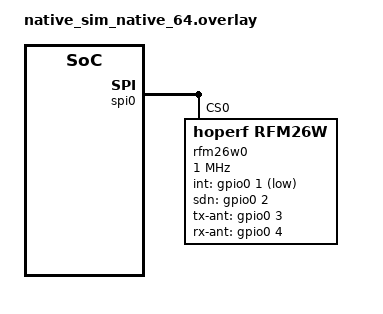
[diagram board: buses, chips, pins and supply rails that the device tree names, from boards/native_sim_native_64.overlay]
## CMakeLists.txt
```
cmake_minimum_required(VERSION 3.20.0)

# Host tests for the COMMS firmware: runs on this computer (native_sim), not on the board.
set(BOARD native_sim/native/64)

set(COMMS_DIR ${CMAKE_CURRENT_SOURCE_DIR}/../../COMMS)

# The radio driver, and the software model of the radio that stands in for the chip
list(APPEND EXTRA_ZEPHYR_MODULES ${COMMS_DIR}/drivers/rfm26w)

find_package(Zephyr REQUIRED HINTS $ENV{ZEPHYR_BASE})
project(comms_test)

# COMMS_MODULE_SOURCES: the same module list the firmware builds (apps/COMMS/src/modules.cmake)
include(${COMMS_DIR}/src/modules.cmake)

set(RFM26W_EMUL_DIR ${COMMS_DIR}/drivers/rfm26w/emul)

# Every .c file in src/ is a test file (one suite per file). CONFIGURE_DEPENDS: new files are picked up on rebuild.
file(GLOB COMMS_TEST_SOURCES CONFIGURE_DEPENDS ${CMAKE_CURRENT_SOURCE_DIR}/src/*.c)

target_sources(app PRIVATE
    ${COMMS_TEST_SOURCES}
    ${COMMS_MODULE_SOURCES}
    ${RFM26W_EMUL_DIR}/rfm26w_emul.c)
target_include_directories(app PRIVATE ${COMMS_SRC_DIR} ${RFM26W_EMUL_DIR} $ENV{ROOT})
```

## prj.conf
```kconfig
CONFIG_ZTEST=y
CONFIG_ASSERT=y

CONFIG_GPIO=y
CONFIG_GPIO_EMUL=y
CONFIG_SPI=y
CONFIG_SPI_EMUL=y
CONFIG_EMUL=y
CONFIG_CRC=y
CONFIG_CAN=y

CONFIG_LOG=y

CONFIG_MAIN_STACK_SIZE=4096
CONFIG_ZTEST_STACK_SIZE=4096

# native_sim defaults to 10 ms ticks, which would turn 1 ms sleeps into 10 ms ones
CONFIG_SYS_CLOCK_TICKS_PER_SEC=10000
```

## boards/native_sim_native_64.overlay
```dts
/*
 * The RFM26W node on native_sim's emulated SPI controller and emulated GPIO port. Both the driver and the
 * software model of the radio bind to this node. The pins are arbitrary: nothing is wired.
 * Same node as apps/tests/rfm26wEmulTest.
 */
&spi0 {
	rfm26w0: rfm26w@0 {
		compatible = "hoperf,rfm26w";
		reg = <0>;
		spi-max-frequency = <1000000>;
		int-gpios = <&gpio0 1 (GPIO_ACTIVE_LOW | GPIO_PULL_UP)>;
		sdn-gpios = <&gpio0 2 GPIO_ACTIVE_HIGH>;
		tx-ant-gpios = <&gpio0 3 GPIO_ACTIVE_HIGH>;
		rx-ant-gpios = <&gpio0 4 GPIO_ACTIVE_HIGH>;
		block-length = <223>;
		xo-frequency-hz = <30000000>;
	};
};
```

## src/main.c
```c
/**
 * @file main.c
 * @brief Host tests for the COMMS firmware (native_sim)
 *
 * One suite per layer, in its own file, registered by the stage that adds the layer. This file holds only
 * the environment check. See apps/COMMS/PLANNED.md section 2 for the stage list.
 */
#include <zephyr/device.h>
#include <zephyr/ztest.h>

#include <ut/drivers/rfm26w.h>

#include "comms_config.h"
#include "rfm26w_emul.h"

#define RADIO_NODE DT_NODELABEL(rfm26w0)

/* The same check main.c in the firmware makes: protocol constant and radio node agree. */
BUILD_ASSERT(DT_PROP(RADIO_NODE, block_length) == COMMS_BLOCK_LEN, "block length mismatch");

static const struct device *const radio = DEVICE_DT_GET(RADIO_NODE);

ZTEST_SUITE(environment, NULL, NULL, NULL, NULL, NULL);

ZTEST(environment, test_protocol_constants_are_consistent)
{
	zassert_equal(COMMS_BLOCK_LEN, 223);
	zassert_equal(COMMS_UL_MAX_PACKET_CLEAR, 216, "PROTOCOL.md: 223 - 5 - 2");
	zassert_equal(COMMS_DL_MAX_PACKET, 219, "PROTOCOL.md: 223 - 2 - 2");
	zassert_equal(COMMS_SP_MIN_PACKET, 7);
	zassert_true(COMMS_TC_SCID <= 0x3FF, "spacecraft ID is 10 bits");
	zassert_true(COMMS_TC_VCID <= 0x3F, "virtual channel ID is 6 bits");
}

/* The radio driver and the software model of the radio are linked and work together. This is what the
 * later integration tests build on. */
ZTEST(environment, test_radio_driver_and_model_are_present)
{
	struct rfm26w_info info;

	zassert_true(device_is_ready(radio));
	(void)rfm26w_shutdown(radio);
	zassert_ok(rfm26w_start(radio));
	zassert_ok(rfm26w_get_info(radio, &info));
	zassert_equal(info.block_len, COMMS_BLOCK_LEN);
	zassert_ok(rfm26w_shutdown(radio));
	zassert_equal(RFM26W_EMUL_DATA()->bad_cmds, 0);
}
```

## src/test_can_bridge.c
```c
/** @file test_can_bridge.c @brief Tests for can/can_bridge with a fake CAN bus */
#include <errno.h>
#include <zephyr/ztest.h>

#include "can/can_bridge.h"
#include "can/can_ping.h"
#include "common/can_proto.h"
#include "link/space_packet.h"
#include "test_fake_can.h"
#include "test_util.h"

static struct can_bridge br;

static void before(void *f)
{
	ARG_UNUSED(f);
	fake_can_attach(&br);
}

ZTEST_SUITE(can_bridge, NULL, NULL, before, NULL, NULL);

static const uint8_t token[COMMS_PING_TOKEN_LEN] = {1, 2, 3, 4, 5, 6};

static struct can_frame frame_from(uint32_t id, uint8_t src, uint8_t op, const uint8_t *tok)
{
	struct can_frame f = {.id = id};

	can_fill_payload(&f, src, op, tok[0], tok[1], tok[2], tok[3], tok[4], tok[5]);
	return f;
}

/* ---- ground to bus ---- */

ZTEST(can_bridge, test_forward_sends_one_extended_8_byte_frame_with_the_record_contents)
{
	struct can_record r;

	comms_can_ping_record(&r, CDH_ID, token);
	zassert_ok(can_bridge_forward(&br, &r));
	zassert_equal(fcan.count, 1);
	zassert_equal(fcan.frames[0].dlc, 8);
	zassert_true(fcan.frames[0].flags & CAN_FRAME_IDE);
	zassert_equal(fcan.frames[0].data[0], GROUND_ID);
	zassert_equal(fcan.frames[0].data[1], OP_PING);
	zassert_mem_equal(&fcan.frames[0].data[2], token, sizeof(token));
	zassert_equal(br.stats.forwarded, 1);
}

ZTEST(can_bridge, test_forward_replaces_the_priority_whatever_ground_wrote)
{
	for (int p = 0; p < 8; p++) {
		struct can_record r;
		uint32_t id;

		comms_can_ping_record(&r, CDH_ID, token);
		r.id = (r.id & ~CAN_PRIO(7)) | CAN_PRIO(p);
		zassert_ok(can_bridge_forward(&br, &r));
		id = fcan.frames[p].id;
		zassert_equal((id >> 26) & 7, COMMS_CAN_UPLINK_PRIO, "ground wrote priority %d", p);
		zassert_equal((id >> 14) & 0xFF, GROUND_ID, "source untouched");
		zassert_equal((id >> 6) & 0xFF, CDH_ID, "destination untouched");
		zassert_equal(id & 0x3F, CLS_COMMAND, "class untouched");
	}
}

ZTEST(can_bridge, test_forward_does_not_change_the_callers_record)
{
	struct can_record r, copy;

	comms_can_ping_record(&r, CDH_ID, token);
	r.id |= CAN_PRIO(0);
	copy = r;
	zassert_ok(can_bridge_forward(&br, &r));
	zassert_equal(r.id, copy.id);
}

ZTEST(can_bridge, test_forward_send_error_is_returned_and_counted)
{
	struct can_record r;

	comms_can_ping_record(&r, CDH_ID, token);
	fcan.result = -EAGAIN;
	zassert_equal(can_bridge_forward(&br, &r), -EAGAIN);
	zassert_equal(br.stats.send_errors, 1);
	zassert_equal(br.stats.forwarded, 0);
}

ZTEST(can_bridge, test_forward_rejects_an_invalid_id_without_sending)
{
	struct can_record r;

	comms_can_ping_record(&r, CDH_ID, token);
	r.id |= BIT(22); /* reserved */
	zassert_equal(can_bridge_forward(&br, &r), -EINVAL);
	zassert_equal(fcan.attempts, 0);
	zassert_equal(br.stats.bad_record, 1);
}

/* ---- bus to ground ---- */

ZTEST(can_bridge, test_a_frame_for_ground_becomes_a_telemetry_item_with_counter_and_record)
{
	struct can_frame f = frame_from(CAN_ID_FULL(3, CDH_ID, GROUND_ID, CLS_CMD_RESP), CDH_ID, OP_PONG,
					token);
	struct dl_item it = {0};
	struct can_record rec;

	zassert_equal(can_bridge_on_frame(&br, &f, &it), 1);
	zassert_equal(it.apid, APID_DL_TLM);
	zassert_equal(it.len, 4 + CAN_RECORD_LEN);
	zassert_equal(it.data[0], 0);
	zassert_equal(it.data[3], 0, "first counter value is 0");
	zassert_equal(can_record_unpack(&it.data[4], CAN_RECORD_LEN, &rec), REC_OK);
	zassert_true(comms_can_pong_check(&rec, CDH_ID, token));
	zassert_equal(br.stats.replies, 1);
}

ZTEST(can_bridge, test_the_counter_is_big_endian_and_increments_per_reply)
{
	struct can_frame f = frame_from(CAN_ID_FULL(3, CDH_ID, GROUND_ID, CLS_CMD_RESP), CDH_ID, OP_PONG,
					token);
	struct dl_item it;

	atomic_set(&fcan_counter, 0x01020304);
	zassert_equal(can_bridge_on_frame(&br, &f, &it), 1);
	zassert_equal(it.data[0], 0x01);
	zassert_equal(it.data[1], 0x02);
	zassert_equal(it.data[2], 0x03);
	zassert_equal(it.data[3], 0x04);
	zassert_equal(can_bridge_on_frame(&br, &f, &it), 1);
	zassert_equal(it.data[3], 0x05);
	zassert_equal(atomic_get(&fcan_counter), 0x01020306);
}

ZTEST(can_bridge, test_frames_for_other_nodes_are_ignored_and_use_no_counter_value)
{
	const uint8_t dsts[] = {CDH_ID, EPS_ID, COMMS_ID, CAN_BROADCAST};
	struct dl_item it;

	for (size_t i = 0; i < ARRAY_SIZE(dsts); i++) {
		struct can_frame f = frame_from(CAN_ID_FULL(3, EPS_ID, dsts[i], CLS_HEARTBEAT), EPS_ID,
						OP_HEARTBEAT, token);

		zassert_equal(can_bridge_on_frame(&br, &f, &it), 0, "dst 0x%02x", dsts[i]);
	}
	zassert_equal(br.stats.ignored_dst, ARRAY_SIZE(dsts));
	zassert_equal(atomic_get(&fcan_counter), 0);
}

ZTEST(can_bridge, test_frames_that_are_not_classic_extended_8_byte_data_are_ignored)
{
	struct can_frame f = frame_from(CAN_ID_FULL(3, CDH_ID, GROUND_ID, CLS_CMD_RESP), CDH_ID, OP_PONG,
					token);
	struct dl_item it;

	f.flags = 0; /* standard ID */
	zassert_equal(can_bridge_on_frame(&br, &f, &it), 0);
	f.flags = CAN_FRAME_IDE;
	f.dlc = 4;
	zassert_equal(can_bridge_on_frame(&br, &f, &it), 0);
	f.dlc = 8;
	f.flags = CAN_FRAME_IDE | CAN_FRAME_RTR;
	zassert_equal(can_bridge_on_frame(&br, &f, &it), 0);
	zassert_equal(br.stats.ignored_frame, 3);
	zassert_equal(br.stats.replies, 0);
}
```

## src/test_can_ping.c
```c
/** @file test_can_ping.c @brief Tests for can/can_ping (the CAN ping and pong records) */
#include <zephyr/ztest.h>

#include "can/can_ping.h"
#include "can/uplink_policy.h"
#include "common/can_proto.h"
#include "test_util.h"

ZTEST_SUITE(can_ping, NULL, NULL, NULL, NULL, NULL);

static const uint8_t token[COMMS_PING_TOKEN_LEN] = {0xDE, 0xAD, 0xBE, 0xEF, 0x00, 0xFF};

/* What a board answers: the same as the CDH handler, written out here independently. */
static struct can_record pong(uint8_t from, const uint8_t *tok)
{
	struct can_record r = {.id = CAN_ID_FULL(3, from, GROUND_ID, CLS_CMD_RESP)};

	r.data[0] = from;
	r.data[1] = OP_PONG;
	memcpy(&r.data[2], tok, COMMS_PING_TOKEN_LEN);
	return r;
}

ZTEST(can_ping, test_ping_record_layout)
{
	struct can_record r;

	comms_can_ping_record(&r, CDH_ID, token);
	zassert_equal(can_record_src(&r), GROUND_ID);
	zassert_equal(can_record_dst(&r), CDH_ID);
	zassert_equal(can_record_class(&r), CLS_COMMAND);
	zassert_equal(r.data[0], GROUND_ID);
	zassert_equal(r.data[1], OP_PING);
	zassert_mem_equal(&r.data[2], token, sizeof(token));
	zassert_equal(r.id & ~CAN_RECORD_ID_VALID_MASK, 0);
}

ZTEST(can_ping, test_the_ping_record_passes_the_policy_for_cdh_only)
{
	struct can_record r;

	comms_can_ping_record(&r, CDH_ID, token);
	zassert_equal(policy_check(&r), POLICY_OK);
	comms_can_ping_record(&r, EPS_ID, token);
	zassert_equal(policy_check(&r), POLICY_ERR_NOT_ALLOWED);
}

ZTEST(can_ping, test_ping_record_survives_the_wire_format)
{
	struct can_record r, back;
	uint8_t wire[CAN_RECORD_LEN];

	comms_can_ping_record(&r, CDH_ID, token);
	can_record_pack(wire, &r);
	zassert_equal(can_record_unpack(wire, sizeof(wire), &back), REC_OK);
	zassert_equal(back.id, r.id);
	zassert_mem_equal(back.data, r.data, 8);
}

ZTEST(can_ping, test_matching_pong_is_recognised)
{
	struct can_record p = pong(CDH_ID, token);

	zassert_true(comms_can_pong_check(&p, CDH_ID, token));
}

ZTEST(can_ping, test_pong_with_anything_wrong_is_rejected)
{
	uint8_t other[COMMS_PING_TOKEN_LEN];
	struct can_record p;

	memcpy(other, token, sizeof(other));
	other[5] ^= 1;
	p = pong(CDH_ID, other);
	zassert_false(comms_can_pong_check(&p, CDH_ID, token), "token differs in the last byte");

	p = pong(CDH_ID, token);
	zassert_false(comms_can_pong_check(&p, EPS_ID, token), "wrong board");

	p = pong(CDH_ID, token);
	p.data[1] = OP_PING;
	zassert_false(comms_can_pong_check(&p, CDH_ID, token), "not a pong opcode");

	p = pong(CDH_ID, token);
	p.id = CAN_ID_FULL(3, CDH_ID, GROUND_ID, CLS_COMMAND);
	zassert_false(comms_can_pong_check(&p, CDH_ID, token), "wrong class");

	p = pong(CDH_ID, token);
	p.id = CAN_ID_FULL(3, CDH_ID, EPS_ID, CLS_CMD_RESP);
	zassert_false(comms_can_pong_check(&p, CDH_ID, token), "not addressed to ground");

	p = pong(CDH_ID, token);
	p.data[0] = EPS_ID;
	zassert_false(comms_can_pong_check(&p, CDH_ID, token), "data source differs from ID source");
}
```

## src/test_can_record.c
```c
/** @file test_can_record.c @brief Tests for can/can_record (the 12-byte CAN-equivalent record) */
#include <errno.h>
#include <string.h>
#include <zephyr/ztest.h>

#include "can/can_record.h"
#include "common/can_proto.h"
#include "test_util.h"

ZTEST_SUITE(can_record, NULL, NULL, NULL, NULL, NULL);

ZTEST(can_record, test_wire_layout_matches_the_spec)
{
	struct can_record r = {
		/* priority 1, src 0x10, dst 0x03, class 2:
		 * 1<<26 = 0x04000000, 0x10<<14 = 0x00040000, 3<<6 = 0xC0, class 2 */
		.id = CAN_ID_FULL(1, GROUND_ID, COMMS_ID, CLS_COMMAND),
		.data = {GROUND_ID, OP_PING, 1, 2, 3, 4, 5, 6},
	};
	uint8_t wire[CAN_RECORD_LEN];

	zassert_equal(r.id, 0x040400C2u, "the test's own arithmetic");
	can_record_pack(wire, &r);
	zassert_equal(wire[0], 0x04, "the 29-bit ID is big-endian");
	zassert_equal(wire[1], 0x04);
	zassert_equal(wire[2], 0x00);
	zassert_equal(wire[3], 0xC2);
	zassert_equal(wire[4], GROUND_ID, "data byte 0 is src");
	zassert_equal(wire[5], OP_PING, "data byte 1 is the opcode");
	zassert_equal(wire[6], 1);
	zassert_equal(wire[11], 6);
}

ZTEST(can_record, test_round_trip_and_accessors)
{
	struct test_rng rng = {.s = 0x600DCAFE};

	for (int i = 0; i < 2000; i++) {
		struct can_record a;
		struct can_record b;
		uint8_t wire[CAN_RECORD_LEN];
		const uint8_t prio = test_rng_next(&rng) & 7;
		const uint8_t src = test_rng_next(&rng) & 0xFF;
		const uint8_t dst = test_rng_next(&rng) & 0xFF;
		const uint8_t cls = test_rng_next(&rng) & 0x3F;

		a.id = CAN_ID_FULL(prio, src, dst, cls);
		test_rng_fill(&rng, a.data, sizeof(a.data));
		can_record_pack(wire, &a);
		zassert_equal(can_record_unpack(wire, sizeof(wire), &b), REC_OK);
		zassert_equal(a.id, b.id);
		zassert_mem_equal(a.data, b.data, 8);
		zassert_equal(can_record_prio(&b), prio);
		zassert_equal(can_record_src(&b), src);
		zassert_equal(can_record_dst(&b), dst);
		zassert_equal(can_record_class(&b), cls);
		zassert_equal(can_record_op(&b), b.data[1]);
	}
}

ZTEST(can_record, test_unpack_rejects_bad_ids_and_lengths)
{
	uint8_t wire[CAN_RECORD_LEN] = {0};
	struct can_record r;

	zassert_equal(can_record_unpack(wire, sizeof(wire), &r), REC_OK, "all zero is a valid ID");

	for (int bit = 29; bit < 32; bit++) {
		memset(wire, 0, sizeof(wire));
		wire[0] = (uint8_t)(1U << (bit - 24));
		zassert_equal(can_record_unpack(wire, sizeof(wire), &r), REC_ERR_ID, "bit %d", bit);
	}
	for (int bit = 22; bit <= 25; bit++) {
		uint32_t id = 1U << bit;

		wire[0] = (uint8_t)(id >> 24);
		wire[1] = (uint8_t)(id >> 16);
		wire[2] = (uint8_t)(id >> 8);
		wire[3] = (uint8_t)id;
		zassert_equal(can_record_unpack(wire, sizeof(wire), &r), REC_ERR_ID, "reserved bit %d", bit);
	}

	memset(wire, 0, sizeof(wire));
	zassert_equal(can_record_unpack(wire, 11, &r), REC_ERR_LEN);
	zassert_equal(can_record_unpack(wire, 13, &r), REC_ERR_LEN);
	zassert_equal(can_record_unpack(wire, 0, &r), REC_ERR_LEN);
	zassert_equal(can_record_unpack(NULL, 12, &r), REC_ERR_ARG);
	zassert_equal(can_record_unpack(wire, 12, NULL), REC_ERR_ARG);
}

ZTEST(can_record, test_every_valid_id_bit_is_accepted)
{
	uint8_t wire[CAN_RECORD_LEN] = {0};
	struct can_record r;

	/* the 22 bits that are allowed: 0-21 and 26-28 */
	for (int bit = 0; bit < 29; bit++) {
		const uint32_t id = 1U << bit;
		const bool reserved = (bit >= 22 && bit <= 25);

		wire[0] = (uint8_t)(id >> 24);
		wire[1] = (uint8_t)(id >> 16);
		wire[2] = (uint8_t)(id >> 8);
		wire[3] = (uint8_t)id;
		zassert_equal(can_record_unpack(wire, sizeof(wire), &r), reserved ? REC_ERR_ID : REC_OK,
			      "bit %d", bit);
	}
}

ZTEST(can_record, test_frame_conversion_round_trip)
{
	struct can_frame f = {0};
	struct can_frame g;
	struct can_record r;
	struct can_record s;

	f.id = CAN_ID_FULL(2, GROUND_ID, EPS_ID, CLS_COMMAND);
	f.flags = CAN_FRAME_IDE;
	can_fill_payload(&f, GROUND_ID, OP_SET_EPS_LOAD, 3, 1, 0, 0, 0, 0);

	zassert_equal(can_record_from_frame(&f, &r), REC_OK);
	zassert_equal(r.id, f.id);
	zassert_mem_equal(r.data, f.data, 8);
	zassert_equal(can_record_dst(&r), EPS_ID);
	zassert_equal(can_record_op(&r), OP_SET_EPS_LOAD);

	zassert_equal(can_record_to_frame(&r, &g), REC_OK);
	zassert_equal(g.id, f.id);
	zassert_equal(g.dlc, 8);
	zassert_true(g.flags & CAN_FRAME_IDE, "must be an extended frame");
	zassert_false(g.flags & (CAN_FRAME_RTR | CAN_FRAME_FDF));
	zassert_mem_equal(g.data, f.data, 8);

	zassert_equal(can_record_from_frame(&g, &s), REC_OK);
	zassert_mem_equal(&s, &r, sizeof(r));
}

ZTEST(can_record, test_only_classic_extended_8_byte_data_frames_become_records)
{
	struct can_frame f = {0};
	struct can_record r;

	f.id = CAN_ID_FULL(1, GROUND_ID, 0x03, 2);
	can_fill_payload(&f, GROUND_ID, OP_PING, 0, 0, 0, 0, 0, 0);
	zassert_equal(can_record_from_frame(&f, &r), REC_OK);

	f.flags = 0; /* standard ID */
	zassert_equal(can_record_from_frame(&f, &r), REC_ERR_FRAME);
	f.flags = CAN_FRAME_IDE | CAN_FRAME_RTR;
	zassert_equal(can_record_from_frame(&f, &r), REC_ERR_FRAME, "remote frame");
	f.flags = CAN_FRAME_IDE | CAN_FRAME_FDF;
	zassert_equal(can_record_from_frame(&f, &r), REC_ERR_FRAME, "CAN FD");
	f.flags = CAN_FRAME_IDE;
	for (uint8_t dlc = 0; dlc <= 7; dlc++) {
		f.dlc = dlc;
		zassert_equal(can_record_from_frame(&f, &r), REC_ERR_FRAME, "dlc %u", dlc);
	}
	f.dlc = 8;
	f.id |= 1U << 23; /* reserved bit */
	zassert_equal(can_record_from_frame(&f, &r), REC_ERR_ID);
	zassert_equal(can_record_from_frame(NULL, &r), REC_ERR_ARG);
	zassert_equal(can_record_from_frame(&f, NULL), REC_ERR_ARG);
}

ZTEST(can_record, test_to_frame_rejects_a_bad_id)
{
	struct can_record r = {.id = 1U << 24};
	struct can_frame f;

	zassert_equal(can_record_to_frame(&r, &f), REC_ERR_ID);
	zassert_equal(can_record_to_frame(NULL, &f), REC_ERR_ARG);
	zassert_equal(can_record_to_frame(&r, NULL), REC_ERR_ARG);
}

ZTEST(can_record, test_record_count)
{
	zassert_equal(can_record_count(12), 1);
	zassert_equal(can_record_count(24), 2);
	zassert_equal(can_record_count(180), 15, "the largest clear uplink data field in whole records");
	zassert_equal(can_record_count(0), -EINVAL);
	zassert_equal(can_record_count(11), -EINVAL);
	zassert_equal(can_record_count(13), -EINVAL);
	zassert_equal(can_record_count(25), -EINVAL);
}

ZTEST(can_record, test_status_names)
{
	zassert_str_equal(rec_status_str(REC_OK), "ok");
	zassert_str_equal(rec_status_str(REC_STATUS_COUNT), "unknown");
	for (int s = 0; s < REC_STATUS_COUNT; s++) {
		zassert_true(strlen(rec_status_str((enum rec_status)s)) > 0);
	}
}
```

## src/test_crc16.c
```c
/** @file test_crc16.c @brief Tests for link/crc16 */
#include <string.h>
#include <zephyr/ztest.h>

#include "link/crc16.h"
#include "test_util.h"

ZTEST_SUITE(crc16, NULL, NULL, NULL, NULL, NULL);

ZTEST(crc16, test_check_value)
{
	/* PROTOCOL.md sections 2 and 14: CRC-16/CCITT-FALSE of "123456789" is 0x29B1 */
	zassert_equal(comms_crc16((const uint8_t *)"123456789", 9), 0x29B1);
}

ZTEST(crc16, test_empty_is_the_initial_value)
{
	zassert_equal(comms_crc16(NULL, 0), 0xFFFF);
}

ZTEST(crc16, test_matches_the_independent_reference)
{
	struct test_rng rng = {.s = 0x12345678};
	uint8_t buf[300];

	test_rng_fill(&rng, buf, sizeof(buf));
	for (size_t len = 0; len <= sizeof(buf); len++) {
		zassert_equal(comms_crc16(buf, len), ref_crc16(buf, len), "length %u", (unsigned int)len);
	}
}

ZTEST(crc16, test_is_not_the_reflected_variant)
{
	/* Zephyr's crc16_ccitt() reflects and gives 0x2189 for the check string. Using it would be a bug. */
	zassert_not_equal(comms_crc16((const uint8_t *)"123456789", 9), 0x2189);
}
```

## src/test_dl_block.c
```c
/** @file test_dl_block.c @brief Tests for link/dl_block (downlink block) */
#include <errno.h>
#include <string.h>
#include <zephyr/ztest.h>

#include "comms_config.h"
#include "link/dl_block.h"
#include "test_util.h"

ZTEST_SUITE(dl_block, NULL, NULL, NULL, NULL, NULL);

ZTEST(dl_block, test_layout_matches_the_spec)
{
	uint8_t block[COMMS_BLOCK_LEN];
	uint8_t packet[10];

	for (size_t i = 0; i < sizeof(packet); i++) {
		packet[i] = (uint8_t)(0xA0 + i);
	}
	zassert_ok(dl_block_pack(block, packet, sizeof(packet)));

	zassert_equal(block[0], 0x00, "len is big-endian");
	zassert_equal(block[1], 0x0A);
	zassert_mem_equal(block + 2, packet, sizeof(packet));
	for (size_t i = 2 + sizeof(packet); i < 221; i++) {
		zassert_equal(block[i], 0, "padding byte %u", (unsigned int)i);
	}
	/* the CRC covers len through the padding: the first 221 bytes. Big-endian in the last two. */
	zassert_equal((block[221] << 8) | block[222], ref_crc16(block, 221));
}

ZTEST(dl_block, test_round_trip_every_length)
{
	struct test_rng rng = {.s = 0x1DEA1DEA};
	uint8_t block[COMMS_BLOCK_LEN];
	uint8_t packet[COMMS_DL_MAX_PACKET];
	const uint8_t *got;
	size_t got_len;

	for (size_t n = COMMS_SP_MIN_PACKET; n <= COMMS_DL_MAX_PACKET; n++) {
		test_rng_fill(&rng, packet, n);
		zassert_ok(dl_block_pack(block, packet, n), "pack %u", (unsigned int)n);
		zassert_equal(dl_block_unpack(block, sizeof(block), &got, &got_len), DL_OK, "unpack %u",
			      (unsigned int)n);
		zassert_equal(got_len, n);
		zassert_equal(got, block + 2);
		zassert_mem_equal(got, packet, n);
	}
}

ZTEST(dl_block, test_pack_limits)
{
	uint8_t block[COMMS_BLOCK_LEN];
	uint8_t packet[COMMS_BLOCK_LEN] = {0};

	zassert_ok(dl_block_pack(block, packet, 7), "smallest Space Packet");
	zassert_ok(dl_block_pack(block, packet, 219), "largest");
	zassert_equal(dl_block_pack(block, packet, 6), -EINVAL, "shorter than a Space Packet");
	zassert_equal(dl_block_pack(block, packet, 0), -EINVAL);
	zassert_equal(dl_block_pack(block, packet, 220), -EMSGSIZE);
	zassert_equal(dl_block_pack(NULL, packet, 10), -EINVAL);
	zassert_equal(dl_block_pack(block, NULL, 10), -EINVAL);
}

ZTEST(dl_block, test_every_single_bit_error_is_rejected)
{
	struct test_rng rng = {.s = 0xABCD1234};
	uint8_t block[COMMS_BLOCK_LEN];
	uint8_t flipped[COMMS_BLOCK_LEN];
	uint8_t packet[100];
	const uint8_t *got;
	size_t got_len;

	test_rng_fill(&rng, packet, sizeof(packet));
	zassert_ok(dl_block_pack(block, packet, sizeof(packet)));

	/* The CRC covers a fixed 221 bytes, so it detects every single-bit error anywhere in the block. */
	for (size_t byte = 0; byte < COMMS_BLOCK_LEN; byte++) {
		for (int bit = 0; bit < 8; bit++) {
			memcpy(flipped, block, sizeof(block));
			flipped[byte] ^= (uint8_t)(1U << bit);
			zassert_not_equal(dl_block_unpack(flipped, sizeof(flipped), &got, &got_len), DL_OK,
					  "flip of byte %u bit %d was accepted", (unsigned int)byte, bit);
		}
	}
}

ZTEST(dl_block, test_a_valid_crc_with_a_bad_length_is_rejected)
{
	uint8_t block[COMMS_BLOCK_LEN] = {0};
	const uint8_t *got;
	size_t got_len;
	static const uint16_t bad[] = {0, 1, 6, 220, 221, 0x00FF, 0x0100, 0xFFFF};

	for (size_t i = 0; i < ARRAY_SIZE(bad); i++) {
		memset(block, 0, sizeof(block));
		block[0] = (uint8_t)(bad[i] >> 8);
		block[1] = (uint8_t)(bad[i] & 0xFF);
		test_seal_crc(block, sizeof(block));
		zassert_equal(dl_block_unpack(block, sizeof(block), &got, &got_len), DL_ERR_LEN,
			      "len %u", bad[i]);
	}
}

ZTEST(dl_block, test_crc_is_checked_before_length)
{
	uint8_t block[COMMS_BLOCK_LEN] = {0};
	const uint8_t *got;
	size_t got_len;

	block[1] = 0xFF; /* a bad length, and no CRC at all */
	zassert_equal(dl_block_unpack(block, sizeof(block), &got, &got_len), DL_ERR_CRC);
}

ZTEST(dl_block, test_wrong_size_and_null_arguments)
{
	uint8_t block[COMMS_BLOCK_LEN + 1] = {0};
	const uint8_t *got;
	size_t got_len;

	zassert_equal(dl_block_unpack(block, COMMS_BLOCK_LEN - 1, &got, &got_len), DL_ERR_SIZE);
	zassert_equal(dl_block_unpack(block, COMMS_BLOCK_LEN + 1, &got, &got_len), DL_ERR_SIZE);
	zassert_equal(dl_block_unpack(block, 0, &got, &got_len), DL_ERR_SIZE);
	zassert_equal(dl_block_unpack(NULL, COMMS_BLOCK_LEN, &got, &got_len), DL_ERR_ARG);
	zassert_equal(dl_block_unpack(block, COMMS_BLOCK_LEN, NULL, &got_len), DL_ERR_ARG);
	zassert_equal(dl_block_unpack(block, COMMS_BLOCK_LEN, &got, NULL), DL_ERR_ARG);
}

ZTEST(dl_block, test_padding_content_is_not_checked)
{
	uint8_t block[COMMS_BLOCK_LEN];
	const uint8_t packet[8] = {1, 2, 3, 4, 5, 6, 7, 8};
	const uint8_t *got;
	size_t got_len;

	zassert_ok(dl_block_pack(block, packet, sizeof(packet)));
	memset(block + 2 + sizeof(packet), 0x5A, 50);
	test_seal_crc(block, sizeof(block));
	zassert_equal(dl_block_unpack(block, sizeof(block), &got, &got_len), DL_OK);
}

ZTEST(dl_block, test_random_blocks_never_crash)
{
	struct test_rng rng = {.s = 0xDEADBEEF};
	uint8_t block[COMMS_BLOCK_LEN];
	const uint8_t *got;
	size_t got_len;
	int accepted = 0;

	for (int i = 0; i < 20000; i++) {
		test_rng_fill(&rng, block, sizeof(block));
		if (dl_block_unpack(block, sizeof(block), &got, &got_len) == DL_OK) {
			accepted++;
			zassert_true(got_len >= 7 && got_len <= 219);
		}
	}
	zassert_true(accepted <= 1, "got %d", accepted);
}

ZTEST(dl_block, test_status_names)
{
	zassert_str_equal(dl_status_str(DL_OK), "ok");
	zassert_str_equal(dl_status_str(DL_STATUS_COUNT), "unknown");
	for (int s = 0; s < DL_STATUS_COUNT; s++) {
		zassert_true(strlen(dl_status_str((enum dl_status)s)) > 0);
	}
}
```

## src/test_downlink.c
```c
/** @file test_downlink.c @brief Tests for app/downlink with the radio replaced by a recorder */
#include <errno.h>
#include <zephyr/ztest.h>

#include "app/downlink.h"
#include "link/dl_block.h"
#include "test_util.h"

K_MSGQ_DEFINE(dl_q, sizeof(struct dl_item), 3, 4);
K_MSGQ_DEFINE(unused_rx_q, COMMS_BLOCK_LEN, 1, 1);

static struct radio_port port;
static struct downlink dl;
static uint8_t sent[8][COMMS_BLOCK_LEN];
static int send_calls;
static int send_result;

static int fake_send(const struct device *dev, const uint8_t *block, size_t len, k_timeout_t timeout)
{
	ARG_UNUSED(dev);
	ARG_UNUSED(timeout);
	zassert_equal(len, COMMS_BLOCK_LEN);
	if (send_calls < 8) {
		memcpy(sent[send_calls], block, len);
	}
	send_calls++;
	return send_result;
}

static int fake_recv_async(const struct device *dev, rfm26w_rx_cb cb, void *arg)
{
	ARG_UNUSED(dev);
	ARG_UNUSED(cb);
	ARG_UNUSED(arg);
	return 0;
}

static const struct radio_port_ops fake_ops = {.send = fake_send, .recv_async = fake_recv_async};

static void before(void *f)
{
	ARG_UNUSED(f);
	k_msgq_purge(&dl_q);
	radio_port_init(&port, NULL, &unused_rx_q);
	port.ops = &fake_ops;
	downlink_init(&dl, &dl_q, &port);
	send_calls = 0;
	send_result = 0;
}

ZTEST_SUITE(downlink, NULL, NULL, before, NULL, NULL);

static struct dl_item item(uint16_t apid, uint8_t fill, uint16_t len)
{
	struct dl_item it = {.apid = apid, .len = len};

	memset(it.data, fill, sizeof(it.data));
	return it;
}

/* Decode sent block `i`: returns the packet, checks block framing on the way. */
static void decode(int i, struct sp_packet *pkt)
{
	const uint8_t *p;
	size_t plen;

	zassert_equal(dl_block_unpack(sent[i], COMMS_BLOCK_LEN, &p, &plen), DL_OK);
	zassert_equal(sp_parse(p, plen, pkt), SP_OK);
	zassert_false(pkt->is_tc, "downlink packets are telemetry type");
}

ZTEST(downlink, test_item_goes_out_as_a_valid_block_and_packet)
{
	struct dl_item it = item(APID_DL_PING, 0x77, 10);
	struct sp_packet pkt;

	zassert_ok(downlink_submit(&dl, &it));
	zassert_ok(downlink_service_one(&dl, K_NO_WAIT));
	zassert_equal(send_calls, 1);
	decode(0, &pkt);
	zassert_equal(pkt.apid, APID_DL_PING);
	zassert_equal(pkt.data_len, 10);
	zassert_equal(pkt.data[0], 0x77);
	zassert_equal(dl.stats.sent, 1);
}

ZTEST(downlink, test_sequence_counts_are_per_apid_and_increment)
{
	struct dl_item a = item(APID_DL_PING, 1, 4);
	struct dl_item b = item(APID_DL_TLM, 2, 4);
	struct sp_packet pkt;
	const uint16_t order[] = {APID_DL_PING, APID_DL_PING, APID_DL_TLM, APID_DL_PING};
	const uint16_t want[] = {0, 1, 0, 2};

	for (size_t i = 0; i < 3; i++) {
		zassert_ok(downlink_submit(&dl, order[i] == APID_DL_PING ? &a : &b));
		zassert_ok(downlink_service_one(&dl, K_NO_WAIT));
	}
	zassert_ok(downlink_submit(&dl, &a));
	zassert_ok(downlink_service_one(&dl, K_NO_WAIT));
	for (int i = 0; i < 4; i++) {
		decode(i, &pkt);
		zassert_equal(pkt.apid, order[i]);
		zassert_equal(pkt.seq_count, want[i], "block %d", i);
	}
}

ZTEST(downlink, test_sequence_count_wraps_at_14_bits)
{
	struct dl_item it = item(APID_DL_PING, 1, 4);
	struct sp_packet pkt;

	dl.seq.next[APID_DL_PING] = SP_SEQ_COUNT_MASK;
	for (int i = 0; i < 2; i++) {
		zassert_ok(downlink_submit(&dl, &it));
		zassert_ok(downlink_service_one(&dl, K_NO_WAIT));
	}
	decode(0, &pkt);
	zassert_equal(pkt.seq_count, SP_SEQ_COUNT_MASK);
	decode(1, &pkt);
	zassert_equal(pkt.seq_count, 0);
}

ZTEST(downlink, test_largest_item_fits)
{
	struct dl_item it = item(APID_DL_TLM, 0xEE, DL_ITEM_MAX_DATA);
	struct sp_packet pkt;

	zassert_ok(downlink_submit(&dl, &it));
	zassert_ok(downlink_service_one(&dl, K_NO_WAIT));
	decode(0, &pkt);
	zassert_equal(pkt.data_len, DL_ITEM_MAX_DATA);
}

ZTEST(downlink, test_full_queue_rejects_without_blocking_and_counts)
{
	struct dl_item it = item(APID_DL_PING, 1, 4);

	for (int i = 0; i < 3; i++) {
		zassert_ok(downlink_submit(&dl, &it));
	}
	zassert_equal(downlink_submit(&dl, &it), -ENOMSG);
	zassert_equal(dl.stats.queued, 3);
	zassert_equal(dl.stats.queue_full, 1);
}

ZTEST(downlink, test_empty_queue_times_out)
{
	zassert_equal(downlink_service_one(&dl, K_NO_WAIT), -EAGAIN);
	zassert_equal(send_calls, 0);
}

ZTEST(downlink, test_invalid_items_are_counted_and_do_not_burn_a_sequence_count)
{
	struct dl_item empty = item(APID_DL_PING, 1, 0);
	struct dl_item big = item(APID_DL_PING, 1, DL_ITEM_MAX_DATA);
	struct dl_item badapid = item(0x800, 1, 4);
	struct dl_item good = item(APID_DL_PING, 1, 4);
	struct sp_packet pkt;

	big.len = DL_ITEM_MAX_DATA + 1;
	zassert_ok(downlink_submit(&dl, &empty));
	zassert_ok(downlink_submit(&dl, &big));
	zassert_ok(downlink_submit(&dl, &badapid));
	for (int i = 0; i < 3; i++) {
		zassert_ok(downlink_service_one(&dl, K_NO_WAIT));
	}
	zassert_equal(dl.stats.build_errors, 3);
	zassert_equal(send_calls, 0);

	zassert_ok(downlink_submit(&dl, &good));
	zassert_ok(downlink_service_one(&dl, K_NO_WAIT));
	decode(0, &pkt);
	zassert_equal(pkt.seq_count, 0);
}

ZTEST(downlink, test_send_failure_is_counted_and_later_items_still_go)
{
	struct dl_item it = item(APID_DL_PING, 1, 4);
	struct sp_packet pkt;

	send_result = -EBUSY;
	zassert_ok(downlink_submit(&dl, &it));
	zassert_ok(downlink_service_one(&dl, K_NO_WAIT));
	zassert_equal(dl.stats.send_errors, 1);
	zassert_equal(dl.stats.sent, 0);

	send_result = 0;
	zassert_ok(downlink_submit(&dl, &it));
	zassert_ok(downlink_service_one(&dl, K_NO_WAIT));
	zassert_equal(dl.stats.sent, 1);
	/* The lost packet used count 0, so ground sees the gap. */
	decode(1, &pkt);
	zassert_equal(pkt.seq_count, 1);
}
```

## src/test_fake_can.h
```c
/**
 * @file test_fake_can.h
 * @brief A fake CAN bus for the host tests: records what the bridge sends, can be made to fail
 *
 * Each test file that includes this gets its own copy of the state (it is static), which is what the
 * suites want.
 */
#ifndef COMMS_TEST_FAKE_CAN_H_
#define COMMS_TEST_FAKE_CAN_H_

#include <string.h>

#include "can/can_bridge.h"

#define FAKE_CAN_MAX 8

struct fake_can {
	struct can_frame frames[FAKE_CAN_MAX]; /**< frames sent successfully */
	int count;                             /**< number of successful sends */
	int attempts;                          /**< all send calls */
	int result;                            /**< what send returns (0 = success) */
};

static struct fake_can fcan;
static atomic_t fcan_counter;

static int fake_can_send(const struct device *dev, const struct can_frame *f)
{
	ARG_UNUSED(dev);
	fcan.attempts++;
	if (fcan.result == 0) {
		if (fcan.count < FAKE_CAN_MAX) {
			fcan.frames[fcan.count] = *f;
		}
		fcan.count++;
	}
	return fcan.result;
}

static const struct can_bridge_ops fake_can_ops = {.send = fake_can_send};

/** Clear the fake bus and set up @p br to use it. The counter starts at 0. */
static inline void fake_can_attach(struct can_bridge *br)
{
	memset(&fcan, 0, sizeof(fcan));
	atomic_set(&fcan_counter, 0);
	can_bridge_init(br, NULL, &fcan_counter);
	br->ops = &fake_can_ops;
}

#endif /* COMMS_TEST_FAKE_CAN_H_ */
```

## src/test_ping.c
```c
/** @file test_ping.c @brief Tests for app/ping (PING reply data field) */
#include <errno.h>
#include <zephyr/ztest.h>

#include "app/ping.h"
#include "test_util.h"

ZTEST_SUITE(ping, NULL, NULL, NULL, NULL, NULL);

ZTEST(ping, test_reply_echoes_id_and_payload_unchanged)
{
	const uint8_t req[] = {0x01, 0x02, 0x03, 0x04, 'a', 'b', 'c', 0x00, 0xFF};
	uint8_t out[PING_MAX_DATA];

	zassert_equal(ping_make_reply(req, sizeof(req), out, sizeof(out)), (int)sizeof(req));
	zassert_mem_equal(out, req, sizeof(req));
}

ZTEST(ping, test_id_only_and_largest_payload)
{
	uint8_t req[PING_MAX_DATA];
	uint8_t out[PING_MAX_DATA];
	struct test_rng r = {.s = 7};

	test_rng_fill(&r, req, sizeof(req));
	zassert_equal(ping_make_reply(req, PING_ID_LEN, out, sizeof(out)), PING_ID_LEN);
	zassert_mem_equal(out, req, PING_ID_LEN);
	zassert_equal(ping_make_reply(req, PING_MAX_DATA, out, sizeof(out)), PING_MAX_DATA);
	zassert_mem_equal(out, req, PING_MAX_DATA);
}

ZTEST(ping, test_every_payload_length_round_trips)
{
	uint8_t req[PING_MAX_DATA];
	uint8_t out[PING_MAX_DATA];
	struct test_rng r = {.s = 99};

	for (size_t n = PING_ID_LEN; n <= PING_MAX_DATA; n++) {
		memset(out, 0, sizeof(out));
		test_rng_fill(&r, req, n);
		zassert_equal(ping_make_reply(req, n, out, sizeof(out)), (int)n);
		zassert_mem_equal(out, req, n);
	}
}

ZTEST(ping, test_length_limits)
{
	uint8_t req[PING_MAX_DATA + 1] = {0};
	uint8_t out[PING_MAX_DATA + 1];

	zassert_equal(ping_make_reply(req, 0, out, sizeof(out)), -EINVAL);
	zassert_equal(ping_make_reply(req, PING_ID_LEN - 1, out, sizeof(out)), -EINVAL);
	zassert_equal(ping_make_reply(req, PING_MAX_DATA + 1, out, sizeof(out)), -EINVAL);
}

ZTEST(ping, test_output_buffer_too_small_and_null_arguments)
{
	uint8_t req[8] = {0};
	uint8_t out[8];

	zassert_equal(ping_make_reply(req, 8, out, 7), -EMSGSIZE);
	zassert_equal(ping_make_reply(NULL, 8, out, 8), -EINVAL);
	zassert_equal(ping_make_reply(req, 8, NULL, 8), -EINVAL);
}

ZTEST(ping, test_reply_fits_a_downlink_packet)
{
	zassert_true(PING_MAX_DATA <= (COMMS_DL_MAX_PACKET - COMMS_SP_HDR_LEN));
}
```

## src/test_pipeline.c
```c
/**
 * @file test_pipeline.c
 * @brief Integration tests: real radio driver on the software radio model, real uplink and downlink
 *
 * A block is injected as if received over the air, passes the radio driver, radio_port, uplink, router
 * and downlink, and the block the radio then transmits is taken from the model and decoded. The service
 * functions are called from the test thread instead of from separate threads, so the order is exact.
 */
#include <errno.h>
#include <zephyr/ztest.h>

#include <ut/drivers/rfm26w.h>

#include "app/downlink.h"
#include "app/ping.h"
#include "can/can_ping.h"
#include "common/can_proto.h"
#include "app/radio_port.h"
#include "app/uplink.h"
#include "link/dl_block.h"
#include "rfm26w_emul.h"
#include "test_fake_can.h"
#include "test_util.h"

#define RADIO_NODE DT_NODELABEL(rfm26w0)

K_MSGQ_DEFINE(p_uplink_q, COMMS_BLOCK_LEN, 4, 1);
K_MSGQ_DEFINE(p_tx_q, sizeof(struct dl_item), 2, 4);

static const struct device *const radio = DEVICE_DT_GET(RADIO_NODE);
static struct rfm26w_emul_data *emul;
static struct radio_port port;
static struct downlink dl;
static struct uplink ul;
static struct router rt;
static struct can_bridge br;

static void *setup(void)
{
	emul = RFM26W_EMUL_DATA();
	return NULL;
}

static void before(void *f)
{
	ARG_UNUSED(f);
	(void)rfm26w_shutdown(radio);
	rfm26w_emul_reset(emul);
	emul->us_per_byte = 50; /* fast air, so soak tests do not take minutes */
	k_msgq_purge(&p_uplink_q);
	k_msgq_purge(&p_tx_q);
	radio_port_init(&port, radio, &p_uplink_q);
	downlink_init(&dl, &p_tx_q, &port);
	fake_can_attach(&br);
	router_init(&rt, &br, (struct mvp_switches){.ping = true, .can_cmd = true});
	uplink_init(&ul, &p_uplink_q, &dl, &rt);
	zassert_ok(rfm26w_start(radio));
	zassert_ok(radio_port_start(&port));
}

static void after(void *f)
{
	ARG_UNUSED(f);
	zassert_equal(emul->cmds_while_busy, 0);
	zassert_equal(emul->bad_cmds, 0);
	zassert_equal(emul->ant_violations, 0);
	zassert_equal(emul->fifo_underflows, 0);
	zassert_equal(emul->fifo_overflows, 0);
	(void)rfm26w_shutdown(radio);
}

ZTEST_SUITE(pipeline, NULL, setup, before, after, NULL);

static void inject(const uint8_t *block)
{
	zassert_ok(rfm26w_emul_inject_rx(emul, block, COMMS_BLOCK_LEN, 100));
}

/* Take the block the radio transmitted and decode it down to the Space Packet. */
static void take_reply(struct sp_packet *pkt, uint8_t *keep)
{
	size_t len = COMMS_BLOCK_LEN;
	const uint8_t *p;
	size_t plen;

	zassert_ok(rfm26w_emul_take_tx(emul, keep, &len));
	zassert_equal(len, COMMS_BLOCK_LEN);
	zassert_equal(dl_block_unpack(keep, len, &p, &plen), DL_OK);
	zassert_equal(sp_parse(p, plen, pkt), SP_OK);
}

/* Run one ping through everything and return once the reply has been transmitted. */
static void ping_once(uint32_t id, const uint8_t *payload, size_t n)
{
	uint8_t block[COMMS_BLOCK_LEN];

	test_make_ping_block(block, id, payload, n);
	inject(block);
	WAIT_UNTIL(k_msgq_num_used_get(&p_uplink_q) >= 1, 1000);
	zassert_ok(uplink_service_one(&ul, K_NO_WAIT), "block did not reach the uplink queue");
	zassert_ok(downlink_service_one(&dl, K_NO_WAIT));
}

ZTEST(pipeline, test_ping_over_the_air_gets_the_matching_reply)
{
	const uint8_t payload[] = "hello, ground";
	uint8_t keep[COMMS_BLOCK_LEN];
	struct sp_packet pkt;

	ping_once(0x01020304, payload, sizeof(payload));
	take_reply(&pkt, keep);
	zassert_equal(pkt.apid, APID_DL_PING);
	zassert_equal(pkt.seq_count, 0);
	zassert_equal(pkt.data_len, 4 + sizeof(payload));
	zassert_equal(pkt.data[0], 0x01);
	zassert_equal(pkt.data[3], 0x04);
	zassert_mem_equal(&pkt.data[4], payload, sizeof(payload));
	zassert_equal(ul.stats.accepted, 1);
	zassert_equal(dl.stats.sent, 1);
	zassert_equal(emul->start_rx_count >= 2, true, "receive resumes after the reply");
}

ZTEST(pipeline, test_ping_with_no_payload_and_with_the_largest_payload)
{
	uint8_t big[PING_MAX_PAYLOAD];
	uint8_t keep[COMMS_BLOCK_LEN];
	struct sp_packet pkt;
	struct test_rng r = {.s = 4242};

	test_rng_fill(&r, big, sizeof(big));
	ping_once(7, NULL, 0);
	take_reply(&pkt, keep);
	zassert_equal(pkt.data_len, 4);
	ping_once(8, big, sizeof(big));
	take_reply(&pkt, keep);
	zassert_equal(pkt.data_len, 4 + sizeof(big));
	zassert_mem_equal(&pkt.data[4], big, sizeof(big));
}

ZTEST(pipeline, test_a_lost_block_means_no_reply_and_the_next_ping_still_works)
{
	uint8_t keep[COMMS_BLOCK_LEN];
	struct sp_packet pkt;
	size_t len = COMMS_BLOCK_LEN;

	ping_once(1, NULL, 0);
	take_reply(&pkt, keep);
	zassert_equal(pkt.data[3], 1);
	/* ping 2 never arrives: nothing is injected */
	zassert_equal(uplink_service_one(&ul, K_NO_WAIT), -EAGAIN);
	zassert_equal(rfm26w_emul_take_tx(emul, keep, &len), -ENOENT);
	ping_once(3, NULL, 0);
	take_reply(&pkt, keep);
	zassert_equal(pkt.data[3], 3);
	zassert_equal(pkt.seq_count, 1, "the sequence count only counts packets that were sent");
}

ZTEST(pipeline, test_a_corrupt_block_is_dropped_and_counted_and_nothing_is_sent)
{
	uint8_t block[COMMS_BLOCK_LEN];
	uint8_t keep[COMMS_BLOCK_LEN];
	size_t len = COMMS_BLOCK_LEN;

	test_make_ping_block(block, 5, NULL, 0);
	block[3] ^= 0x40;
	inject(block);
	WAIT_UNTIL(k_msgq_num_used_get(&p_uplink_q) >= 1, 1000);
	zassert_ok(uplink_service_one(&ul, K_NO_WAIT));
	zassert_equal(ul.stats.tc_drop[TC_ERR_FECF], 1);
	zassert_equal(k_msgq_num_used_get(&p_tx_q), 0);
	zassert_equal(rfm26w_emul_take_tx(emul, keep, &len), -ENOENT);
}

ZTEST(pipeline, test_a_ping_with_the_wrong_spacecraft_id_is_ignored)
{
	uint8_t block[COMMS_BLOCK_LEN];
	uint8_t pkt[16];
	const uint8_t data[4] = {0};
	size_t n = test_make_ul_packet(pkt, sizeof(pkt), APID_UL_PING, data, 4);

	zassert_ok(tc_frame_build(block, COMMS_TC_SCID ^ 0x10, COMMS_TC_VCID, pkt, n));
	inject(block);
	WAIT_UNTIL(k_msgq_num_used_get(&p_uplink_q) >= 1, 1000);
	zassert_ok(uplink_service_one(&ul, K_NO_WAIT));
	zassert_equal(ul.stats.tc_drop[TC_ERR_SCID], 1);
	zassert_equal(k_msgq_num_used_get(&p_tx_q), 0);
}

ZTEST(pipeline, test_back_to_back_pings_are_all_answered_in_order)
{
	uint8_t keep[COMMS_BLOCK_LEN];
	struct sp_packet pkt;
	uint8_t block[COMMS_BLOCK_LEN];

	for (uint32_t id = 10; id < 13; id++) {
		test_make_ping_block(block, id, NULL, 0);
		inject(block);
	}
	WAIT_UNTIL(k_msgq_num_used_get(&p_uplink_q) >= 3, 2000);
	zassert_equal(k_msgq_num_used_get(&p_uplink_q), 3, "dropped %u", port.stats.rx_dropped);
	for (int i = 0; i < 3; i++) {
		zassert_ok(uplink_service_one(&ul, K_NO_WAIT));
		zassert_ok(downlink_service_one(&dl, K_NO_WAIT));
	}
	for (uint32_t id = 10; id < 13; id++) {
		take_reply(&pkt, keep);
		zassert_equal(pkt.data[3], id);
		zassert_equal(pkt.seq_count, id - 10);
	}
}

ZTEST(pipeline, test_a_full_transmit_queue_drops_replies_and_counts_them)
{
	uint8_t block[COMMS_BLOCK_LEN];

	/* The transmit queue holds 2. Answer 4 pings without letting the transmit side run. */
	for (uint32_t id = 0; id < 4; id++) {
		test_make_ping_block(block, id, NULL, 0);
		inject(block);
		WAIT_UNTIL(k_msgq_num_used_get(&p_uplink_q) >= 1, 1000);
		zassert_ok(uplink_service_one(&ul, K_NO_WAIT));
	}
	zassert_equal(dl.stats.queued, 2);
	zassert_equal(dl.stats.queue_full, 2);
	zassert_equal(rt.stats.ping, 4);
	/* What is queued still goes out. */
	zassert_ok(downlink_service_one(&dl, K_NO_WAIT));
	zassert_ok(downlink_service_one(&dl, K_NO_WAIT));
	zassert_equal(dl.stats.sent, 2);
}

ZTEST(pipeline, test_full_uplink_queue_drops_blocks_and_counts_them)
{
	uint8_t block[COMMS_BLOCK_LEN];

	for (uint32_t id = 0; id < 6; id++) {
		test_make_ping_block(block, id, NULL, 0);
		inject(block);
		WAIT_UNTIL(port.stats.rx_blocks + port.stats.rx_dropped >= id + 1, 1000);
	}
	zassert_equal(port.stats.rx_blocks, 4);
	zassert_equal(port.stats.rx_dropped, 2);
}

ZTEST(pipeline, test_many_pings_in_a_row_all_come_back_intact)
{
	uint8_t keep[COMMS_BLOCK_LEN];
	uint8_t payload[32];
	struct sp_packet pkt;
	struct test_rng r = {.s = 2026};

	for (uint32_t id = 0; id < 300; id++) {
		test_rng_fill(&r, payload, sizeof(payload));
		ping_once(id, payload, sizeof(payload));
		take_reply(&pkt, keep);
		zassert_equal(pkt.apid, APID_DL_PING);
		zassert_equal(pkt.seq_count, id & SP_SEQ_COUNT_MASK);
		zassert_equal(pkt.data_len, 4 + sizeof(payload));
		zassert_equal(pkt.data[3], (uint8_t)id);
		zassert_mem_equal(&pkt.data[4], payload, sizeof(payload));
	}
	zassert_equal(dl.stats.send_errors, 0);
	zassert_equal(port.stats.rx_dropped, 0);
}

/* ---- CAN_CMD: radio to CAN bus and back ---- */

static void make_cmd_block(uint8_t *block, const struct can_record *rec)
{
	uint8_t wire[CAN_RECORD_LEN];
	uint8_t pkt[COMMS_UL_MAX_PACKET_CLEAR];
	size_t n;

	can_record_pack(wire, rec);
	n = test_make_ul_packet(pkt, sizeof(pkt), APID_UL_CMD, wire, sizeof(wire));
	zassert_ok(tc_frame_build(block, COMMS_TC_SCID, COMMS_TC_VCID, pkt, n));
}

/* Send a command over the air and run the uplink side. */
static void cmd_over_the_air(const struct can_record *rec)
{
	uint8_t block[COMMS_BLOCK_LEN];

	make_cmd_block(block, rec);
	inject(block);
	WAIT_UNTIL(k_msgq_num_used_get(&p_uplink_q) >= 1, 1000);
	zassert_ok(uplink_service_one(&ul, K_NO_WAIT), "block did not reach the uplink queue");
}

/* A stand-in for CDH, written separately from the firmware handler: answer a ping with a pong to its sender. */
static struct can_frame fake_cdh_answer(const struct can_frame *ping)
{
	struct can_frame f = {.id = CAN_ID_FULL(3, CDH_ID, (ping->id >> 14) & 0xFF, CLS_CMD_RESP)};

	zassert_equal(ping->data[1], OP_PING);
	can_fill_payload(&f, CDH_ID, OP_PONG, ping->data[2], ping->data[3], ping->data[4], ping->data[5],
			 ping->data[6], ping->data[7]);
	return f;
}

/* The board's answer arrives from the CAN bus and goes down the radio. */
static void answer_comes_back(const struct can_frame *answer)
{
	struct dl_item it;

	zassert_equal(can_bridge_on_frame(&br, answer, &it), 1);
	zassert_ok(downlink_submit(&dl, &it));
	zassert_ok(downlink_service_one(&dl, K_NO_WAIT));
}

ZTEST(pipeline, test_can_ping_goes_to_the_bus_and_the_pong_comes_back_over_the_radio)
{
	const uint8_t token[COMMS_PING_TOKEN_LEN] = {0xA1, 0xB2, 0xC3, 0xD4, 0xE5, 0xF6};
	uint8_t keep[COMMS_BLOCK_LEN];
	struct can_record ping, got;
	struct can_frame answer;
	struct sp_packet pkt;

	comms_can_ping_record(&ping, CDH_ID, token);
	cmd_over_the_air(&ping);

	zassert_equal(fcan.count, 1, "the ping must be on the bus");
	zassert_equal(rt.stats.cmd_forwarded, 1);
	zassert_equal(k_msgq_num_used_get(&p_tx_q), 0, "nothing goes down until the board answers");

	answer = fake_cdh_answer(&fcan.frames[0]);
	answer_comes_back(&answer);

	take_reply(&pkt, keep);
	zassert_equal(pkt.apid, APID_DL_TLM);
	zassert_equal(pkt.data_len, 4 + CAN_RECORD_LEN);
	zassert_equal(can_record_unpack(&pkt.data[4], CAN_RECORD_LEN, &got), REC_OK);
	zassert_true(comms_can_pong_check(&got, CDH_ID, token));
}

ZTEST(pipeline, test_a_denied_command_never_reaches_the_bus_and_nothing_goes_down)
{
	const uint8_t token[COMMS_PING_TOKEN_LEN] = {0};
	struct can_record r;
	uint8_t keep[COMMS_BLOCK_LEN];
	size_t len = COMMS_BLOCK_LEN;

	comms_can_ping_record(&r, CDH_ID, token);
	r.data[1] = OP_REBOOT;
	cmd_over_the_air(&r);

	comms_can_ping_record(&r, CDH_ID, token);
	r.id = CAN_ID_FULL(0, EPS_ID, CDH_ID, CLS_COMMAND); /* pretends to be another board */
	cmd_over_the_air(&r);

	zassert_equal(fcan.attempts, 0);
	zassert_equal(rt.stats.cmd_denied[POLICY_ERR_NOT_ALLOWED], 1);
	zassert_equal(rt.stats.cmd_denied[POLICY_ERR_SRC], 1);
	zassert_equal(rfm26w_emul_take_tx(emul, keep, &len), -ENOENT);
}

ZTEST(pipeline, test_two_can_pings_get_distinct_counters_and_sequence_counts)
{
	uint8_t keep[COMMS_BLOCK_LEN];
	struct sp_packet pkt;

	for (uint8_t i = 0; i < 2; i++) {
		const uint8_t token[COMMS_PING_TOKEN_LEN] = {i, 9, 9, 9, 9, 9};
		struct can_record ping;
		struct can_frame answer;

		comms_can_ping_record(&ping, CDH_ID, token);
		cmd_over_the_air(&ping);
		answer = fake_cdh_answer(&fcan.frames[i]);
		answer_comes_back(&answer);
	}
	for (uint8_t i = 0; i < 2; i++) {
		take_reply(&pkt, keep);
		zassert_equal(pkt.seq_count, i);
		zassert_equal(pkt.data[3], i, "tlm_counter");
		zassert_equal(pkt.data[4 + 4 + 2], i, "token byte 0 of the echoed record is data byte 2");
	}
}

ZTEST(pipeline, test_a_can_send_failure_is_counted_and_the_link_keeps_working)
{
	const uint8_t token[COMMS_PING_TOKEN_LEN] = {0};
	struct can_record ping;
	uint8_t keep[COMMS_BLOCK_LEN];
	struct sp_packet pkt;

	fcan.result = -EAGAIN;
	comms_can_ping_record(&ping, CDH_ID, token);
	cmd_over_the_air(&ping);
	zassert_equal(rt.stats.cmd_can_error, 1);
	zassert_equal(k_msgq_num_used_get(&p_tx_q), 0);

	fcan.result = 0;
	ping_once(77, NULL, 0); /* the radio ping still works */
	take_reply(&pkt, keep);
	zassert_equal(pkt.apid, APID_DL_PING);
}

ZTEST(pipeline, test_a_board_frame_for_someone_else_never_goes_down)
{
	struct can_frame f = {.id = CAN_ID_FULL(3, CDH_ID, EPS_ID, CLS_COMMAND)};
	struct dl_item it;

	can_fill_payload(&f, CDH_ID, OP_SET_PWR_STATE, 1, 1, 0, 0, 0, 0);
	zassert_equal(can_bridge_on_frame(&br, &f, &it), 0);
	zassert_equal(k_msgq_num_used_get(&p_tx_q), 0);
}
```
